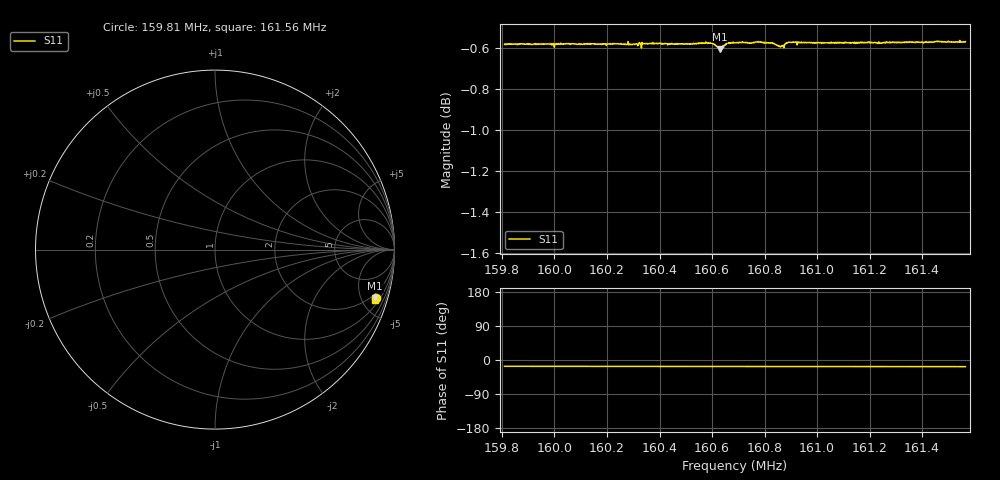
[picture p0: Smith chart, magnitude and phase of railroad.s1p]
! Calibrated averaged scanner-service zoom
# Hz S RI R 50
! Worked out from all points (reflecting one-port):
!   1001 points, 159.81 MHz to 161.56 MHz, reference 50 ohm
!   lowest |S11| = -0.6 dB at 160.63 MHz (marker M1), VSWR 28.62, Z = 77.1 - j319 ohm
!   phase of S11 starts at -17 deg and turns -1 deg over the sweep
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1.5981e8  0.8959 -0.2675
1.600294e8  0.8954 -0.2693
1.602488e8  0.895 -0.271
1.602909e8  0.8946 -0.2712
1.60319e8  0.8941 -0.2716
1.603225e8  0.8957 -0.2713
1.603418e8  0.895 -0.2716
1.604225e8  0.8948 -0.2724
1.604681e8  0.8942 -0.2732
1.604944e8  0.8944 -0.2728
1.605962e8  0.8949 -0.2737
1.606296e8  0.8925 -0.2702
1.606366e8  0.893 -0.2712
1.606612e8  0.8947 -0.2743
1.606875e8  0.8946 -0.2744
1.607437e8  0.8945 -0.2749
1.60777e8  0.895 -0.2754
1.608226e8  0.894 -0.2758
1.608332e8  0.8939 -0.276
1.608595e8  0.8912 -0.2782
1.608683e8  0.8918 -0.2776
1.608823e8  0.8937 -0.2769
1.608876e8  0.8939 -0.2766
1.609069e8  0.8943 -0.2767
1.611262e8  0.8933 -0.2781
1.613456e8  0.8931 -0.28
1.614579e8  0.8934 -0.281
1.61565e8  0.8928 -0.2821
